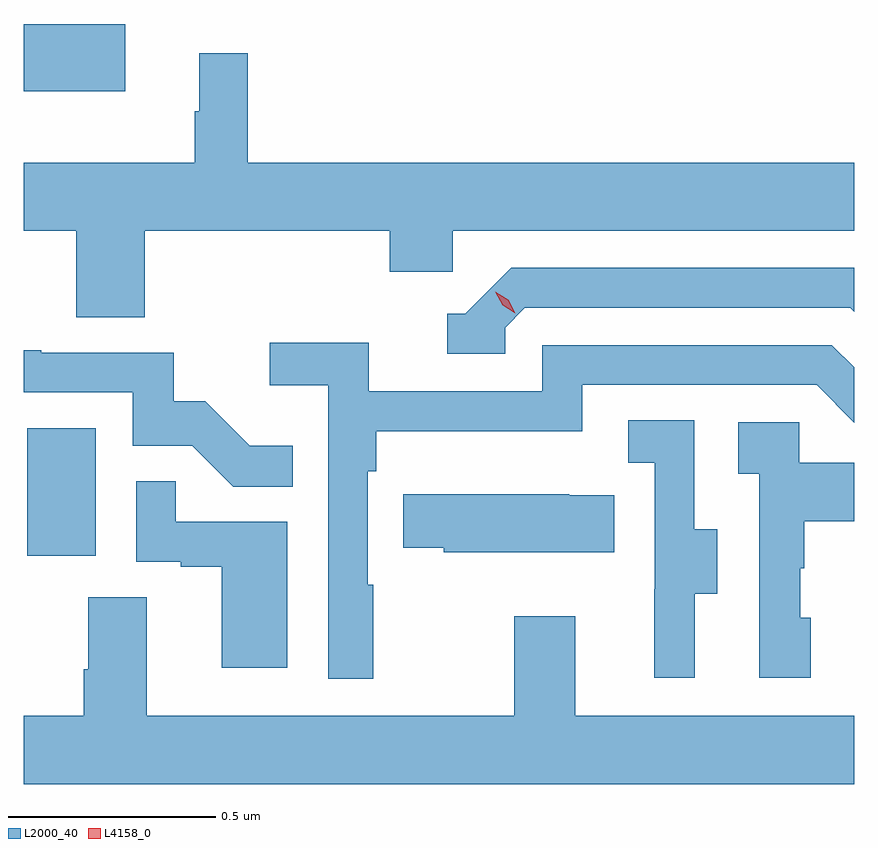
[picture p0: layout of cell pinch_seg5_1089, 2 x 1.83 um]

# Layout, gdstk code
import gdstk
lib = gdstk.Library(unit=1e-6, precision=1e-09)
def R(c, l, rs):  # rectangles x0, y0, x1, y1
    for r in rs: c.add(gdstk.rectangle(r[:2], r[2:], *l))
def P(c, l, *ps):  # polygons
    for p in ps: c.add(gdstk.Polygon(p, *l))
L2000_40 = (2000, 40)
L4158_0 = (4158, 0)

pinch_seg5_1089 = lib.new_cell('pinch_seg5_1089')
R(pinch_seg5_1089, L2000_40, [(837.314,857.31,837.478,857.617), (837.305,858.428,837.55,858.59)])
P(pinch_seg5_1089, L2000_40, [(837.596,858.092),(838.187,858.092),(838.187,857.994),(838.338,857.994),(838.338,858.092),(839.305,858.092),(839.305,858.256),(837.845,858.256),(837.845,858.52),(837.728,858.52),(837.728,858.38),(837.717,858.38),(837.717,858.256),(837.305,858.256),(837.305,858.092),(837.431,858.092),(837.431,857.884),(837.596,857.884)],
  [(838.464,857.859),(838.512,857.907),(839.295,857.907),(839.305,857.897),(839.305,858.003),(838.479,858.003),(838.368,857.892),(838.325,857.892),(838.325,857.796),(838.464,857.796)],
  [(838.147,857.24),(838.134,857.24),(838.134,857.513),(838.154,857.513),(838.154,857.609),(838.65,857.609),(838.65,857.721),(839.214,857.721),(839.305,857.63),(839.305,857.763),(839.251,857.817),(838.554,857.817),(838.554,857.706),(838.136,857.706),(838.136,857.822),(837.897,857.822),(837.897,857.72),(838.038,857.72),(838.038,857.013),(838.147,857.013)],
  [(837.953,857.575),(837.849,857.575),(837.742,857.682),(837.666,857.682),(837.666,857.799),(837.347,857.799),(837.347,857.804),(837.305,857.804),(837.305,857.703),(837.567,857.703),(837.567,857.574),(837.711,857.574),(837.809,857.476),(837.953,857.476)],
  [(838.921,857.218),(838.975,857.218),(838.975,857.373),(838.92,857.373),(838.92,857.636),(838.761,857.636),(838.761,857.533),(838.824,857.533),(838.824,857.229),(838.823,857.229),(838.823,857.016),(838.921,857.016)],
  [(839.2,857.16),(839.175,857.16),(839.175,857.279),(839.185,857.279),(839.185,857.393),(839.305,857.393),(839.305,857.533),(839.172,857.533),(839.172,857.631),(839.025,857.631),(839.025,857.507),(839.076,857.507),(839.076,857.016),(839.2,857.016)],
  [(837.94,857.391),(837.671,857.391),(837.671,857.489),(837.576,857.489),(837.576,857.295),(837.683,857.295),(837.683,857.283),(837.782,857.283),(837.782,857.04),(837.94,857.04)],
  [(838.727,857.455),(838.619,857.455),(838.619,857.458),(838.219,857.458),(838.219,857.329),(838.317,857.329),(838.317,857.318),(838.727,857.318)],
  [(839.305,856.924),(838.633,856.924),(838.633,857.164),(838.486,857.164),(838.486,856.924),(837.601,856.924),(837.601,857.21),(837.461,857.21),(837.461,857.036),(837.449,857.036),(837.449,856.924),(837.305,856.924),(837.305,856.76),(839.305,856.76)])
P(pinch_seg5_1089, L4158_0, [(838.489,857.894),(838.458,857.913),(838.441,857.945),(838.441,857.945),(838.441,857.945),(838.472,857.926),(838.489,857.894),(838.489,857.894)])

lib.write_gds('pinch_seg5_1089.gds')
